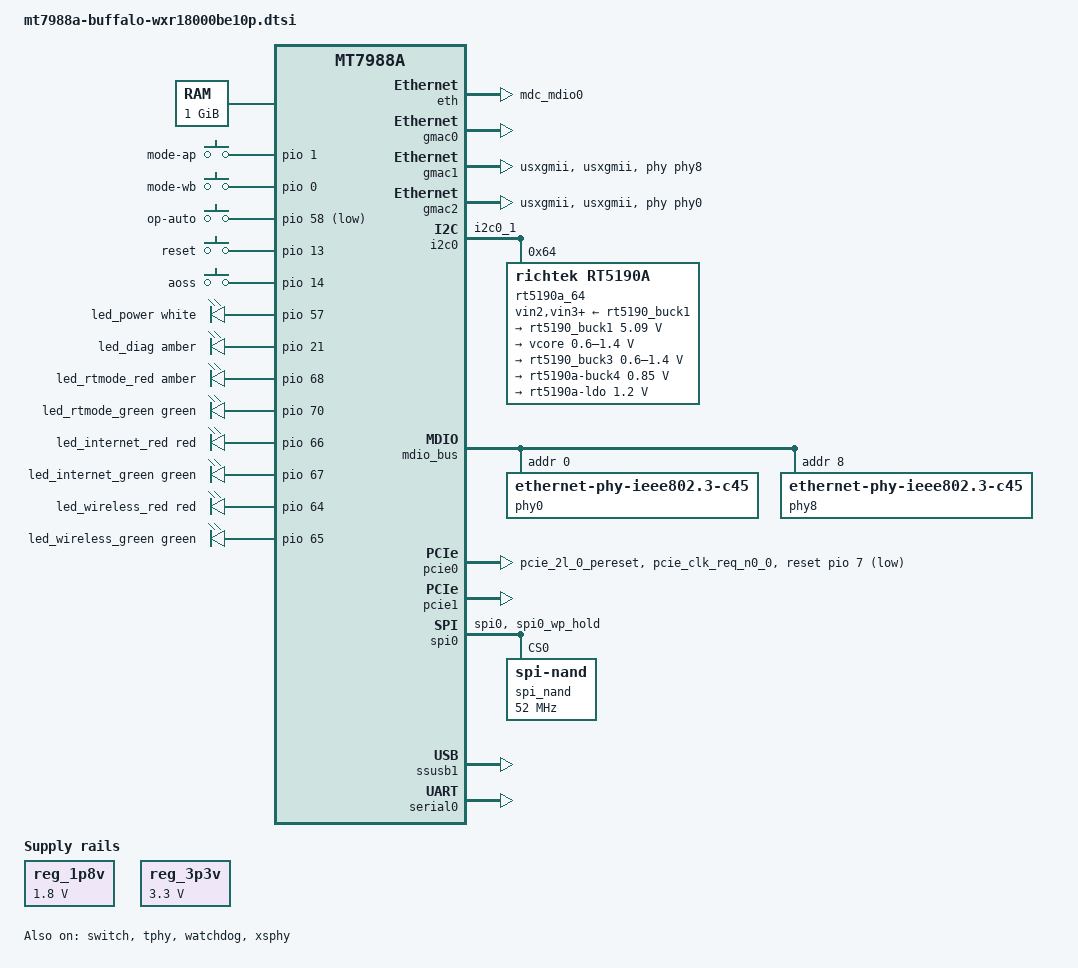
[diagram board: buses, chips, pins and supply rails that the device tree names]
// SPDX-License-Identifier: (GPL-2.0 OR MIT)

/dts-v1/;

#include "mt7988a.dtsi"
#include <dt-bindings/gpio/gpio.h>
#include <dt-bindings/input/input.h>
#include <dt-bindings/leds/common.h>
#include <dt-bindings/pinctrl/mt65xx.h>
#include <dt-bindings/regulator/richtek,rt5190a-regulator.h>

#define BUFFALO_WXR18000BE10P_FACTORY_LAYOUT				\
	nvmem-layout {					\
		compatible = "fixed-layout";		\
		#address-cells = <1>;			\
		#size-cells = <1>;			\
							\
		eeprom_factory_0: eeprom@0 {		\
			reg = <0x0 0x1e00>;		\
		};					\
							\
		macaddr_factory_4: macaddr@4 {		\
			reg = <0x4 0x6>;		\
		};					\
							\
		macaddr_factory_a: macaddr@a {		\
			reg = <0xa 0x6>;		\
		};					\
							\
		macaddr_factory_2c0: macaddr@2c0 { \
			reg = <0x2c0 0x6>;		\
		};					\
							\
		macaddr_factory_ffff4: macaddr@fffee { \
			reg = <0xffff4 0x6>;		\
		};					\
	}

/ {
	aliases {
		serial0 = &serial0;
		label-mac-device = &gmac0;
		led-boot = &led_diag;
		led-failsafe = &led_diag;
		led-running = &led_power;
		led-upgrade = &led_diag;
	};

	memory {
		reg = <0x0 0x40000000 0x0 0x40000000>;
	};

	reg_1p8v: regulator-1p8v {
		compatible = "regulator-fixed";
		regulator-name = "fixed-1.8V";
		regulator-min-microvolt = <1800000>;
		regulator-max-microvolt = <1800000>;
		regulator-boot-on;
		regulator-always-on;
	};

	reg_3p3v: regulator-3p3v {
		compatible = "regulator-fixed";
		regulator-name = "fixed-3.3V";
		regulator-min-microvolt = <3300000>;
		regulator-max-microvolt = <3300000>;
		regulator-boot-on;
		regulator-always-on;
	};

	gpio-keys {
		compatible = "gpio-keys";
		pinctrl-names = "default";
		pinctrl-0 = <&button_pins>;

		/*
		 * mode: 3x position switch
		 *
		 * - ROUTER
		 * - AP
		 * - WB (Wireless Bridge)
		 */
		ap {
			label = "mode-ap";
			gpios = <&pio 1 GPIO_ACTIVE_HIGH>;
			linux,code = <BTN_0>;
		};

		bridge {
			label = "mode-wb";
			gpios = <&pio 0 GPIO_ACTIVE_HIGH>;
			linux,code = <BTN_1>;
		};

		/*
		 * op: 2x position switch
		 *
		 * - AUTO
		 * - MANUAL (select Router/AP/WB manually)
		 */
		auto {
			label = "op-auto";
			gpios = <&pio 58 GPIO_ACTIVE_LOW>;
			linux,code = <BTN_2>;
		};

		factory {
			label = "reset";
			linux,code = <KEY_RESTART>;
			gpios = <&pio 13 GPIO_ACTIVE_HIGH>;
		};

		wps {
			label = "aoss";
			linux,code = <KEY_WPS_BUTTON>;
			gpios = <&pio 14 GPIO_ACTIVE_HIGH>;
		};
	};

	gpio-leds {
		compatible = "gpio-leds";

		led_power: led-0 {
			color = <LED_COLOR_ID_WHITE>;
			function = LED_FUNCTION_POWER;
			gpios = <&pio 57 GPIO_ACTIVE_HIGH>;
		};

		led_diag: led-1 {
			color = <LED_COLOR_ID_AMBER>;
			// function = LED_FUNCTION_DIAG;
			gpios = <&pio 21 GPIO_ACTIVE_HIGH>;
		};

		led_rtmode_red: led-2 {
			color = <LED_COLOR_ID_AMBER>;
			// function = LED_FUNCTION_WLAN;
			gpios = <&pio 68 GPIO_ACTIVE_HIGH>;
		};

		led_rtmode_green: led-3 {
			color = <LED_COLOR_ID_GREEN>;
			function = LED_FUNCTION_INDICATOR;
			gpios = <&pio 70 GPIO_ACTIVE_HIGH>;
		};

		led_internet_red: led-4 {
			color = <LED_COLOR_ID_RED>;
			gpios = <&pio 66 GPIO_ACTIVE_HIGH>;
		};

		led_internet_green: led-5 {
			color = <LED_COLOR_ID_GREEN>;
			function = LED_FUNCTION_WAN_ONLINE;
			gpios = <&pio 67 GPIO_ACTIVE_HIGH>;
		};

		led_wireless_red: led-6 {
			color = <LED_COLOR_ID_RED>;
			function = LED_FUNCTION_WPS;
			gpios = <&pio 64 GPIO_ACTIVE_HIGH>;
		};

		led_wireless_green: led-7 {
			color = <LED_COLOR_ID_GREEN>;
			function = LED_FUNCTION_WLAN;
			gpios = <&pio 65 GPIO_ACTIVE_HIGH>;
		};
	};
};

&cpu0 {
	proc-supply = <&rt5190_buck3>;
};

&cpu1 {
	proc-supply = <&rt5190_buck3>;
};

&cpu2 {
	proc-supply = <&rt5190_buck3>;
};

&cpu3 {
	proc-supply = <&rt5190_buck3>;
};

&cci {
	proc-supply = <&rt5190_buck3>;
};

&eth {
	pinctrl-0 = <&mdio0_pins>;
	pinctrl-names = "default";
	status = "okay";
};

&gmac0 {
	status = "okay";
};

&gmac1 {
	label = "lan1";
	phy-mode = "usxgmii";
	phy-connection-type = "usxgmii";
	phy = <&phy8>;

	status = "okay";
};

&gmac2 {
	label = "wan";
	phy-mode = "usxgmii";
	phy-connection-type = "usxgmii";
	phy = <&phy0>;

	status = "okay";
};

&gsw_phy0 {
	status = "disabled";
};

&i2c0 {
	pinctrl-names = "default";
	pinctrl-0 = <&i2c0_pins>;
	status = "okay";

	rt5190a_64: rt5190a@64 {
		compatible = "richtek,rt5190a";
		reg = <0x64>;
		/*interrupts-extended = <&gpio26 0 IRQ_TYPE_LEVEL_LOW>;*/
		vin2-supply = <&rt5190_buck1>;
		vin3-supply = <&rt5190_buck1>;
		vin4-supply = <&rt5190_buck1>;

		regulators {
			rt5190_buck1: buck1 {
				regulator-name = "rt5190a-buck1";
				regulator-min-microvolt = <5090000>;
				regulator-max-microvolt = <5090000>;
				regulator-allowed-modes =
				<RT5190A_OPMODE_AUTO RT5190A_OPMODE_FPWM>;
				regulator-boot-on;
				regulator-always-on;
			};

			buck2 {
				regulator-name = "vcore";
				regulator-min-microvolt = <600000>;
				regulator-max-microvolt = <1400000>;
				regulator-boot-on;
				regulator-always-on;
			};

			rt5190_buck3: buck3 {
				regulator-name = "vproc";
				regulator-min-microvolt = <600000>;
				regulator-max-microvolt = <1400000>;
				regulator-boot-on;
			};

			buck4 {
				regulator-name = "rt5190a-buck4";
				regulator-min-microvolt = <850000>;
				regulator-max-microvolt = <850000>;
				regulator-allowed-modes =
				<RT5190A_OPMODE_AUTO RT5190A_OPMODE_FPWM>;
				regulator-boot-on;
				regulator-always-on;
			};

			ldo {
				regulator-name = "rt5190a-ldo";
				regulator-min-microvolt = <1200000>;
				regulator-max-microvolt = <1200000>;
				regulator-boot-on;
				regulator-always-on;
			};
		};
	};
};

&mdio_bus {
	phy0: ethernet-phy@0 {
		/* Marvell CUX3410, LAN 10G Port */
		compatible = "ethernet-phy-ieee802.3-c45";
		reg = <0>;

		/* reset-gpios = <&pio 71 GPIO_ACTIVE_LOW>;
		* reset-assert-us = <100000>;
		* reset-deassert-us = <221000>; */

		firmware-name = "marvell/CUX3410.cld";
	};

	phy8: ethernet-phy@8 {
		/* Marvell CUX3410, WAN 10G Port */
		compatible = "ethernet-phy-ieee802.3-c45";
		reg = <8>;

		/* reset-gpios = <&pio 72 GPIO_ACTIVE_LOW>;
		* reset-assert-us = <100000>;
		* reset-deassert-us = <221000>; */

		firmware-name = "marvell/CUX3410.cld";
	};
};

&pcie0 {
	pinctrl-names = "default";
	pinctrl-0 = <&pcie0_1_pins>;
	reset-gpios = <&pio 7 GPIO_ACTIVE_LOW>;
	status = "okay";

	pcie@0,0 {
		reg = <0x0000 0 0 0 0>;
		#address-cells = <3>;
		#size-cells = <2>;

		mt7996_wifi: mt7996@0,0 {
			reg = <0x0000 0 0 0 0>;
		};
	};
};

&pcie1 {
	pinctrl-names = "default";
	pinctrl-0 = <&pcie1_pins>;
	status = "okay";
};

&pcie2 {
	status = "disabled";
};

&pcie3 {
	status = "disabled";
};

&pio {
	button_pins: button-pins {
		pins = "GPIO_RESET", "GPIO_WPS";
		mediatek,pull-down-adv = <0>; /* bias-disable */
	};

	mdio0_pins: mdio0-pins {
		mux {
			function = "eth";
			groups = "mdc_mdio0";
		};

		conf {
			groups = "mdc_mdio0";
			drive-strength = <MTK_DRIVE_8mA>;
		};
	};

	i2c0_pins: i2c0-g0-pins {
		mux {
			function = "i2c";
			groups = "i2c0_1";
		};
	};

	spi0_flash_pins: spi0-flash-pins {
		mux {
			function = "spi";
			groups = "spi0", "spi0_wp_hold";
		};
	};

	pcie0_1_pins: pcie0-pins-g1 {
		mux {
			function = "pcie";
			groups = "pcie_2l_0_pereset", "pcie_clk_req_n0_0";
		};
	};
};

&spi0 {
	pinctrl-names = "default";
	pinctrl-0 = <&spi0_flash_pins>;
	status = "okay";

	spi_nand: spi_nand@0 {
		compatible = "spi-nand";
		reg = <0>;

		spi-max-frequency = <52000000>;
		spi-tx-bus-width = <4>;
		spi-rx-bus-width = <4>;

		spi-cal-enable;
		spi-cal-mode = "read-data";
		spi-cal-datalen = <7>;
		spi-cal-data = /bits/ 8 <0x53 0x50 0x49 0x4e 0x41 0x4e 0x44>;
		spi-cal-addrlen = <5>;
		spi-cal-addr = /bits/ 32 <0x0 0x0 0x0 0x0 0x0>;
	};
};

&ssusb1 {
	status = "okay";
};

&switch {
	status = "okay";

	ports {
		port@0 {
			status = "disabled";
		};

		port@1 {
			label = "lan4";
		};

		port@2 {
			label = "lan3";
		};

		port@3 {
			label = "lan2";
		};
	};
};

&tphy {
	status = "okay";
};

&serial0 {
	status = "okay";
};

&watchdog {
	status = "okay";
};

&xsphy {
	status = "okay";
};
